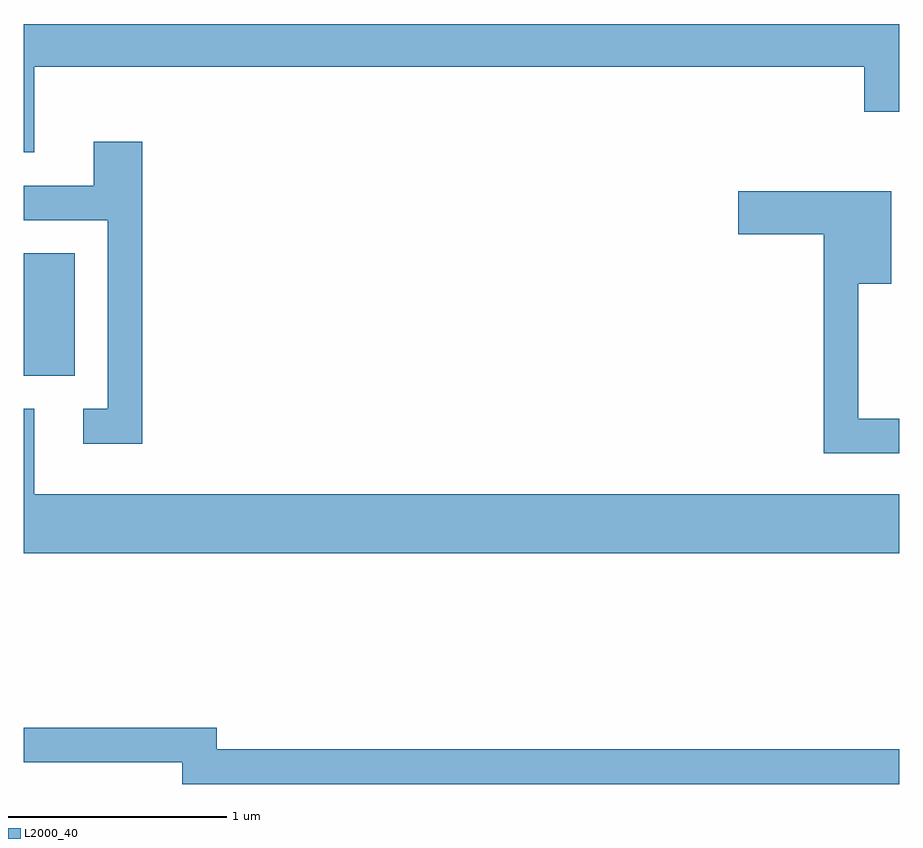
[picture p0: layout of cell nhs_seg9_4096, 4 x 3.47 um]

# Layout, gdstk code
import gdstk
lib = gdstk.Library(unit=1e-6, precision=1e-09)
def R(c, l, rs):  # rectangles x0, y0, x1, y1
    for r in rs: c.add(gdstk.rectangle(r[:2], r[2:], *l))
def P(c, l, *ps):  # polygons
    for p in ps: c.add(gdstk.Polygon(p, *l))
L2000_40 = (2000, 40)

nhs_seg9_4096 = lib.new_cell('nhs_seg9_4096')
R(nhs_seg9_4096, L2000_40, [(305.611,2014.826,305.844,2015.384)])
P(nhs_seg9_4096, L2000_40, [(305.659,2016.236),(309.451,2016.236),(309.451,2016.031),(309.611,2016.031),(309.611,2016.432),(305.611,2016.432),(305.611,2015.846),(305.659,2015.846)],
  [(306.154,2015.894),(305.931,2015.894),(305.931,2015.694),(305.611,2015.694),(305.611,2015.536),(305.996,2015.536),(305.996,2014.674),(305.883,2014.674),(305.883,2014.516),(306.154,2014.516)],
  [(309.611,2014.629),(309.424,2014.629),(309.424,2015.246),(309.574,2015.246),(309.574,2015.669),(308.876,2015.669),(308.876,2015.471),(309.266,2015.471),(309.266,2014.471),(309.611,2014.471)],
  [(309.611,2014.284),(305.659,2014.284),(305.659,2014.674),(305.611,2014.674),(305.611,2014.016),(309.611,2014.016)],
  [(309.611,2013.119),(306.494,2013.119),(306.494,2013.219),(305.611,2013.219),(305.611,2013.061),(306.336,2013.061),(306.336,2012.961),(309.611,2012.961)])

lib.write_gds('nhs_seg9_4096.gds')
